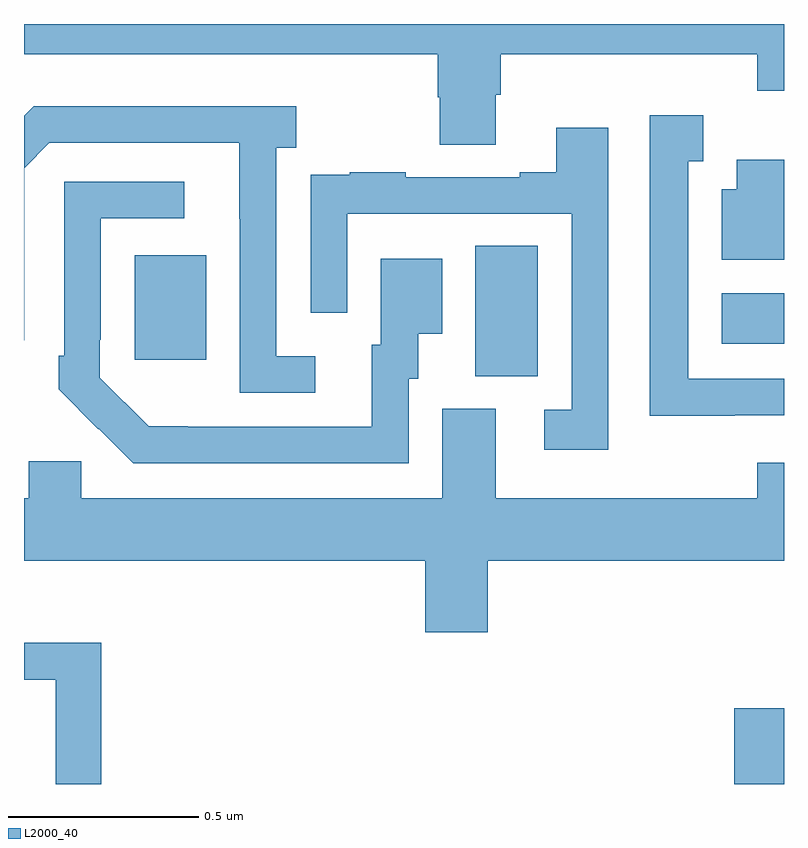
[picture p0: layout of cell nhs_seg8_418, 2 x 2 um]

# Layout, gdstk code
import gdstk
lib = gdstk.Library(unit=1e-6, precision=1e-09)
def R(c, l, rs):  # rectangles x0, y0, x1, y1
    for r in rs: c.add(gdstk.rectangle(r[:2], r[2:], *l))
def P(c, l, *ps):  # polygons
    for p in ps: c.add(gdstk.Polygon(p, *l))
L2000_40 = (2000, 40)

nhs_seg8_418 = lib.new_cell('nhs_seg8_418')
R(nhs_seg8_418, L2000_40, [(117.869,1127.9,118,1128.1), (117.188,1128.973,117.352,1129.316), (116.291,1129.017,116.479,1129.291), (117.836,1129.058,118,1129.192)])
P(nhs_seg8_418, L2000_40, [(117.241,1129.714),(117.254,1129.714),(117.254,1129.82),(117.929,1129.82),(117.929,1129.725),(118,1129.725),(118,1129.9),(116,1129.9),(116,1129.82),(117.089,1129.82),(117.089,1129.707),(117.094,1129.707),(117.094,1129.582),(117.241,1129.582)],
  [(116.767,1129.026),(116.664,1129.026),(116.664,1129.574),(116.716,1129.574),(116.716,1129.684),(116.026,1129.684),(116,1129.658),(116,1129.068),(116.001,1129.068),(116.001,1129.521),(116.067,1129.587),(116.567,1129.587),(116.567,1129.387),(116.568,1129.387),(116.568,1128.93),(116.767,1128.93)],
  [(117.87,1128.87),(118,1128.87),(118,1128.966),(117.748,1128.966),(117.748,1129.539),(117.787,1129.539),(117.787,1129.66),(117.647,1129.66),(117.647,1128.869),(117.87,1128.869)],
  [(117.537,1129.627),(117.401,1129.627),(117.401,1129.51),(117.305,1129.51),(117.305,1129.497),(117.005,1129.497),(117.005,1129.51),(116.857,1129.51),(116.857,1129.503),(116.755,1129.503),(116.755,1129.394),(116.754,1129.394),(116.754,1129.14),(116.85,1129.14),(116.85,1129.401),(117.441,1129.401),(117.441,1128.885),(117.369,1128.885),(117.369,1128.78),(117.537,1128.78)],
  [(118,1129.543),(117.875,1129.543),(117.875,1129.465),(117.836,1129.465),(117.836,1129.28),(118,1129.28)],
  [(117.012,1128.966),(117.037,1128.966),(117.037,1129.085),(117.1,1129.085),(117.1,1129.282),(116.939,1129.282),(116.939,1129.056),(116.915,1129.056),(116.915,1128.84),(116.431,1128.84),(116.431,1128.841),(116.328,1128.841),(116.199,1128.969),(116.199,1129.069),(116.202,1129.069),(116.202,1129.389),(116.422,1129.389),(116.422,1129.485),(116.106,1129.485),(116.106,1129.027),(116.091,1129.027),(116.091,1128.939),(116.196,1128.834),(116.197,1128.835),(116.288,1128.744),(117.012,1128.744)],
  [(117.22,1128.488),(118,1128.488),(118,1128.745),(117.929,1128.745),(117.929,1128.652),(117.241,1128.652),(117.241,1128.888),(117.101,1128.888),(117.101,1128.652),(116.151,1128.652),(116.151,1128.75),(116.012,1128.75),(116.012,1128.652),(116,1128.652),(116,1128.488),(117.056,1128.488),(117.056,1128.3),(117.22,1128.3)],
  [(116.203,1128.272),(116,1128.272),(116,1128.174),(116.084,1128.174),(116.084,1127.9),(116.203,1127.9)])

lib.write_gds('nhs_seg8_418.gds')
